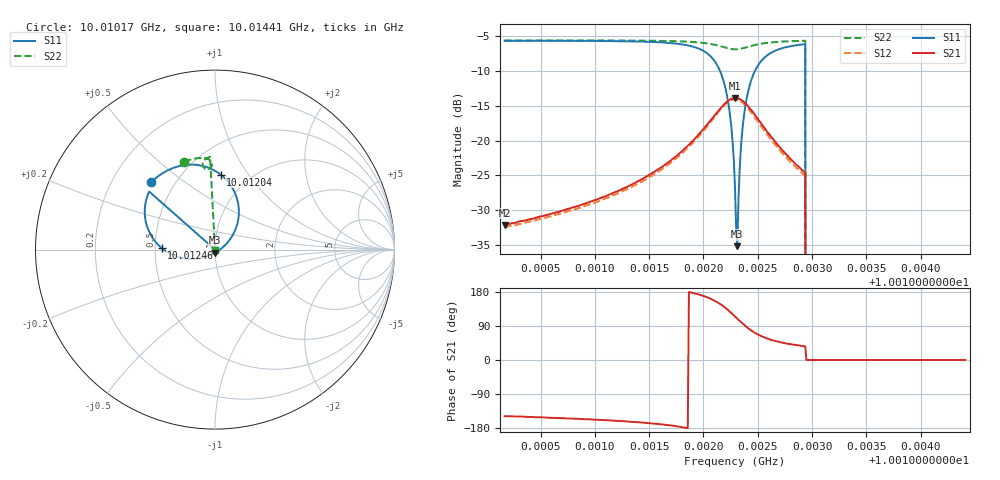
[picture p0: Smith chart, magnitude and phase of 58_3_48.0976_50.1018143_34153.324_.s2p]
#  HZ  S  RI  R  50.00
! Rohde & Schwarz Vector Network Analyzer
! Rohde-Schwarz,ZNB20-2Port,1311601062101988,3.16
! Created: UTC 12/23/2023, 3:40:29 AM
! freq[Hz]  re:S11  im:S11  re:S21  im:S21  re:S12  im:S12  re:S22  im:S22
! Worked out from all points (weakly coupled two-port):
!   401 points, 10.01017 GHz to 10.01441 GHz, reference 50 ohm
!   highest |S21| = -13.91 dB at 10.01229 GHz (marker M1); lowest = -32.1 dB at 10.01017 GHz (marker M2)
!   lowest |S11| = -35.1 dB at 10.01231 GHz (marker M3), VSWR 1.04, Z = 50 - j1.76 ohm
!   |S11| at or under -10 dB: 10.01215 GHz to 10.01248 GHz (324.8 kHz wide, 0.00324 % of centre); 10.01294 GHz to end of sweep
!   |S22| runs from - to -5.7 dB; largest |S21 - S12| = 0.0095
!   S11 on the Smith chart (normalised r, x): 10.01017 GHz: 0.37, +0.38; 10.01204 GHz: 0.74, +0.75; 10.01246 GHz: 0.54, +0.01; 10.01441 GHz: 1.00, +0.00
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1.0010169e10  -0.3551 0.3756  -0.0212 -0.0131  -0.0197 -0.0137  -0.1708 0.4902
1.001088e10  -0.299 0.4206  -0.0317 -0.0143  -0.0297 -0.0152  -0.1243 0.5042
1.0011591e10  -0.1883 0.4681  -0.0615 -0.0119  -0.0586 -0.0144  -0.0701 0.5115
1.0012036e10  0.0311 0.4182  -0.1264 0.0326  -0.1244 0.0253  -0.0238 0.4943
1.0012142e10  0.1144 0.3076  -0.1428 0.0825  -0.1437 0.0734  -0.0163 0.4758
1.0012216e10  0.1295 0.1666  -0.1326 0.1355  -0.1351 0.1275  -0.021 0.4584
1.0012259e10  0.0952 0.0745  -0.1095 0.1659  -0.1137 0.1582  -0.0299 0.4505
1.0012269e10  0.0803 0.0524  -0.1016 0.1726  -0.1064 0.1646  -0.0326 0.4492
1.0012291e10  0.0441 0.0134  -0.084 0.1832  -0.0892 0.1757  -0.0388 0.4473
1.0012301e10  0.0234 -0.00301  -0.0748 0.1871  -0.0793 0.1802  -0.042 0.4474
1.0012312e10  0.000623 -0.0175  -0.0648 0.1902  -0.0693 0.1835  -0.0452 0.4474
1.0012322e10  -0.0231 -0.0296  -0.0551 0.1921  -0.0592 0.1855  -0.0481 0.4479
1.0012354e10  -0.0975 -0.05  -0.0259 0.1922  -0.0299 0.1858  -0.0567 0.4516
1.0012375e10  -0.1463 -0.0514  -0.00747 0.1879  -0.0121 0.1817  -0.0613 0.4553
1.0012407e10  -0.2131 -0.0381  0.0166 0.1767  0.0113 0.1708  -0.066 0.4623
1.001246e10  -0.2975 0.00919  0.0435 0.1515  0.0372 0.1467  -0.0689 0.4743
1.0012619e10  -0.388 0.1674  0.064 0.0864  0.0577 0.0845  -0.0585 0.4995
1.0012916e10  -0.3695 0.317  0.0488 0.0364  0.0446 0.0367  -0.029 0.5159
1.0012969e10  0 0  0 0  0 0  0 0
1.0013001e10  0 0  0 0  0 0  0 0
1.0013712e10  0 0  0 0  0 0  0 0
1.0014412e10  0 0  0 0  0 0  0 0
